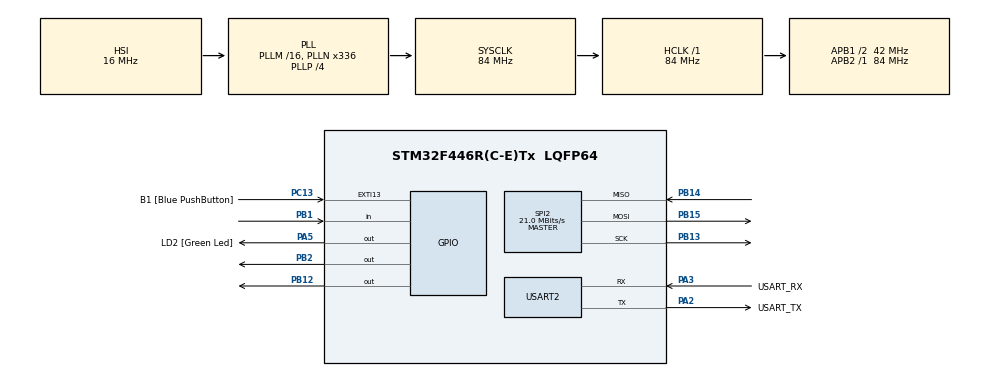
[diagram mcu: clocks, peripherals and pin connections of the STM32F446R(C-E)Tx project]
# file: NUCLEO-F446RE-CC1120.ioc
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Mcu.Family=STM32F4
Mcu.Name=STM32F446R(C-E)Tx
Mcu.Package=LQFP64
NVIC.PriorityGroup=NVIC_PRIORITYGROUP_0
PA13.GPIO_Label=TMS
PA13.Mode=Serial_Wire
PA13.Signal=SYS_JTMS-SWDIO
PA14.GPIO_Label=TCK
PA14.Mode=Serial_Wire
PA14.Signal=SYS_JTCK-SWCLK
PA2.GPIO_Label=USART_TX
PA2.Mode=Asynchronous
PA2.Signal=USART2_TX
PA3.GPIO_Label=USART_RX
PA3.Mode=Asynchronous
PA3.Signal=USART2_RX
PA5.GPIO_Label=LD2 [Green Led]
PA5.Signal=GPIO_Output
PB1.Signal=GPIO_Input
PB12.Signal=GPIO_Output
PB13.Mode=Full_Duplex_Master
PB13.Signal=SPI2_SCK
PB14.Mode=Full_Duplex_Master
PB14.Signal=SPI2_MISO
PB15.Mode=Full_Duplex_Master
PB15.Signal=SPI2_MOSI
PB2.Signal=GPIO_Output
PB3.GPIO_Label=SWO
PB3.Signal=SYS_JTDO-SWO
PC13.GPIO_Label=B1 [Blue PushButton]
PC13.GPIO_ModeDefaultEXTI=GPIO_MODE_IT_FALLING
PC13.Signal=GPXTI13
PC14-OSC32_IN.Mode=LSE-External-Oscillator
PC14-OSC32_IN.Signal=RCC_OSC32_IN
PC15-OSC32_OUT.Mode=LSE-External-Oscillator
PC15-OSC32_OUT.Signal=RCC_OSC32_OUT
PH0-OSC_IN.Mode=HSE-External-Oscillator
PH0-OSC_IN.Signal=RCC_OSC_IN
PH1-OSC_OUT.Mode=HSE-External-Oscillator
PH1-OSC_OUT.Signal=RCC_OSC_OUT
ProjectManager.HeapSize=0x200
ProjectManager.StackSize=0x400
ProjectManager.TargetToolchain=STM32CubeIDE
RCC.48MHZClocksFreq_Value=84000000
RCC.AHBFreq_Value=84000000
RCC.APB1CLKDivider=RCC_HCLK_DIV2
RCC.APB1Freq_Value=42000000
RCC.APB1TimFreq_Value=84000000
RCC.APB2Freq_Value=84000000
RCC.APB2TimFreq_Value=84000000
RCC.CortexFreq_Value=84000000
RCC.FLatency-AdvancedSettings=FLASH_LATENCY_2
RCC.HCLKFreq_Value=84000000
RCC.HSE_VALUE=8000000
RCC.HSI_VALUE=16000000
RCC.PLLN=336
RCC.PLLP=RCC_PLLP_DIV4
RCC.SYSCLKFreq_VALUE=84000000
RCC.SYSCLKSource=RCC_SYSCLKSOURCE_PLLCLK
RCC.USBFreq_Value=168000000
RCC.VCOOutputFreq_Value=336000000
SPI2.CalculateBaudRate=21.0 MBits/s
SPI2.Direction=SPI_DIRECTION_2LINES
SPI2.Mode=SPI_MODE_MASTER
SPI2.VirtualType=VM_MASTER
USART2.VirtualMode=VM_ASYNC
board=NUCLEO-F446RE

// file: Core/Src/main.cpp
/* USER CODE BEGIN Header */
/**
  ******************************************************************************
  * @file           : main.c
  * @brief          : Main program body
  ******************************************************************************
  * @attention
  *
  * <h2><center>&copy; Copyright (c) 2021 STMicroelectronics.
  * All rights reserved.</center></h2>
  *
  * This software component is licensed by ST under BSD 3-Clause license,
  * the "License"; You may not use this file except in compliance with the
  * License. You may obtain a copy of the License at:
  *                        opensource.org/licenses/BSD-3-Clause
  *
  ******************************************************************************
  */
/* USER CODE END Header */
#include "main.h"

/* USER CODE BEGIN Includes */
#include <stdio.h>
#include <string.h>
/* USER CODE END Includes */

SPI_HandleTypeDef hspi2;

UART_HandleTypeDef huart2;

/* USER CODE BEGIN PV */

const uint8_t CC112X_IOCFG3 = 0x00;
const uint8_t CC112X_IOCFG2 = 0x01;
const uint8_t CC112X_IOCFG1 = 0x02;
const uint8_t CC112X_IOCFG0 = 0x88;

/* USER CODE END PV */

void SystemClock_Config(void);
static void MX_GPIO_Init(void);
static void MX_USART2_UART_Init(void);
static void MX_SPI2_Init(void);

int main(void)
{
  /* USER CODE BEGIN 1 */

	/* UART */
	uint8_t 	uart_buffer[50];
	uint8_t 	uart_buffer_length;

	/* SPI */
	uint8_t  	spi_buffer;
	uint8_t  	spi_buffer_length;

	uint16_t 	count = 0;

  /* USER CODE END 1 */

  /* MCU Configuration--------------------------------------------------------*/

  /* Reset of all peripherals, Initializes the Flash interface and the Systick. */
  HAL_Init();

  /* Configure the system clock */
  SystemClock_Config();

  /* USER CODE BEGIN SysInit */

  /* pull the slave select high */
  HAL_GPIO_WritePin(GPIOB, GPIO_PIN_12, GPIO_PIN_SET);

  /* update user on program start */
  uart_buffer_length = sprintf((char*)uart_buffer, "<program start>\r\n");
  HAL_UART_Transmit(&huart2, uart_buffer, uart_buffer_length, 100);

  /* USER CODE END SysInit */

  /* Initialize all configured peripherals */
  MX_GPIO_Init();
  MX_USART2_UART_Init();
  MX_SPI2_Init();

  /* Infinite loop */
  /* USER CODE BEGIN WHILE */
  while (1)
  {

	  uart_buffer_length = sprintf((char*)uart_buffer, "<Attempt: %d>\r\n", ++count);
	  HAL_UART_Transmit(&huart2, uart_buffer, uart_buffer_length, 100);

	  /* pull the slave select low to begin communication */
	  HAL_GPIO_WritePin(GPIOB, GPIO_PIN_12, GPIO_PIN_RESET);

	  /* write out address byte */
	  HAL_SPI_Transmit(&hspi2, (uint8_t*)&CC112X_IOCFG0, 1, 100);

	  spi_buffer = 0xB0;

	  /* write out data byte */
	  HAL_SPI_Transmit(&hspi2, (uint8_t*)&spi_buffer, 1, 100);

	  /* pull the slave select high to end communication */
	  HAL_GPIO_WritePin(GPIOB, GPIO_PIN_12, GPIO_PIN_SET);

	  HAL_Delay(500);

    /* USER CODE END WHILE */

  }
}

void SystemClock_Config(void)
{
  RCC_OscInitTypeDef RCC_OscInitStruct = {0};
  RCC_ClkInitTypeDef RCC_ClkInitStruct = {0};

  /** Configure the main internal regulator output voltage
  */
  __HAL_RCC_PWR_CLK_ENABLE();
  __HAL_PWR_VOLTAGESCALING_CONFIG(PWR_REGULATOR_VOLTAGE_SCALE3);
  /** Initializes the RCC Oscillators according to the specified parameters
  * in the RCC_OscInitTypeDef structure.
  */
  RCC_OscInitStruct.OscillatorType = RCC_OSCILLATORTYPE_HSI;
  RCC_OscInitStruct.HSIState = RCC_HSI_ON;
  RCC_OscInitStruct.HSICalibrationValue = RCC_HSICALIBRATION_DEFAULT;
  RCC_OscInitStruct.PLL.PLLState = RCC_PLL_ON;
  RCC_OscInitStruct.PLL.PLLSource = RCC_PLLSOURCE_HSI;
  RCC_OscInitStruct.PLL.PLLM = 16;
  RCC_OscInitStruct.PLL.PLLN = 336;
  RCC_OscInitStruct.PLL.PLLP = RCC_PLLP_DIV4;
  RCC_OscInitStruct.PLL.PLLQ = 2;
  RCC_OscInitStruct.PLL.PLLR = 2;
  if (HAL_RCC_OscConfig(&RCC_OscInitStruct) != HAL_OK)
  {
    Error_Handler();
  }
  /** Initializes the CPU, AHB and APB buses clocks
  */
  RCC_ClkInitStruct.ClockType = RCC_CLOCKTYPE_HCLK|RCC_CLOCKTYPE_SYSCLK
                              |RCC_CLOCKTYPE_PCLK1|RCC_CLOCKTYPE_PCLK2;
  RCC_ClkInitStruct.SYSCLKSource = RCC_SYSCLKSOURCE_PLLCLK;
  RCC_ClkInitStruct.AHBCLKDivider = RCC_SYSCLK_DIV1;
  RCC_ClkInitStruct.APB1CLKDivider = RCC_HCLK_DIV2;
  RCC_ClkInitStruct.APB2CLKDivider = RCC_HCLK_DIV1;

  if (HAL_RCC_ClockConfig(&RCC_ClkInitStruct, FLASH_LATENCY_2) != HAL_OK)
  {
    Error_Handler();
  }
}

static void MX_SPI2_Init(void)
{

  /* SPI2 parameter configuration*/
  hspi2.Instance = SPI2;
  hspi2.Init.Mode = SPI_MODE_MASTER;
  hspi2.Init.Direction = SPI_DIRECTION_2LINES;
  hspi2.Init.DataSize = SPI_DATASIZE_8BIT;
  hspi2.Init.CLKPolarity = SPI_POLARITY_LOW;
  hspi2.Init.CLKPhase = SPI_PHASE_1EDGE;
  hspi2.Init.NSS = SPI_NSS_SOFT;
  hspi2.Init.BaudRatePrescaler = SPI_BAUDRATEPRESCALER_2;
  hspi2.Init.FirstBit = SPI_FIRSTBIT_MSB;
  hspi2.Init.TIMode = SPI_TIMODE_DISABLE;
  hspi2.Init.CRCCalculation = SPI_CRCCALCULATION_DISABLE;
  hspi2.Init.CRCPolynomial = 10;
  if (HAL_SPI_Init(&hspi2) != HAL_OK)
  {
    Error_Handler();
  }

}

static void MX_USART2_UART_Init(void)
{

  huart2.Instance = USART2;
  huart2.Init.BaudRate = 115200;
  huart2.Init.WordLength = UART_WORDLENGTH_8B;
  huart2.Init.StopBits = UART_STOPBITS_1;
  huart2.Init.Parity = UART_PARITY_NONE;
  huart2.Init.Mode = UART_MODE_TX_RX;
  huart2.Init.HwFlowCtl = UART_HWCONTROL_NONE;
  huart2.Init.OverSampling = UART_OVERSAMPLING_16;
  if (HAL_UART_Init(&huart2) != HAL_OK)
  {
    Error_Handler();
  }

}

static void MX_GPIO_Init(void)
{
  GPIO_InitTypeDef GPIO_InitStruct = {0};

  /* GPIO Ports Clock Enable */
  __HAL_RCC_GPIOC_CLK_ENABLE();
  __HAL_RCC_GPIOH_CLK_ENABLE();
  __HAL_RCC_GPIOA_CLK_ENABLE();
  __HAL_RCC_GPIOB_CLK_ENABLE();

  /*Configure GPIO pin Output Level */
  HAL_GPIO_WritePin(LD2_GPIO_Port, LD2_Pin, GPIO_PIN_RESET);

  /*Configure GPIO pin Output Level */
  HAL_GPIO_WritePin(GPIOB, GPIO_PIN_2|GPIO_PIN_12, GPIO_PIN_RESET);

  /*Configure GPIO pin : B1_Pin */
  GPIO_InitStruct.Pin = B1_Pin;
  GPIO_InitStruct.Mode = GPIO_MODE_IT_FALLING;
  GPIO_InitStruct.Pull = GPIO_NOPULL;
  HAL_GPIO_Init(B1_GPIO_Port, &GPIO_InitStruct);

  /*Configure GPIO pin : LD2_Pin */
  GPIO_InitStruct.Pin = LD2_Pin;
  GPIO_InitStruct.Mode = GPIO_MODE_OUTPUT_PP;
  GPIO_InitStruct.Pull = GPIO_NOPULL;
  GPIO_InitStruct.Speed = GPIO_SPEED_FREQ_LOW;
  HAL_GPIO_Init(LD2_GPIO_Port, &GPIO_InitStruct);

  /*Configure GPIO pin : PB1 */
  GPIO_InitStruct.Pin = GPIO_PIN_1;
  GPIO_InitStruct.Mode = GPIO_MODE_INPUT;
  GPIO_InitStruct.Pull = GPIO_NOPULL;
  HAL_GPIO_Init(GPIOB, &GPIO_InitStruct);

  /*Configure GPIO pins : PB2 PB12 */
  GPIO_InitStruct.Pin = GPIO_PIN_2|GPIO_PIN_12;
  GPIO_InitStruct.Mode = GPIO_MODE_OUTPUT_PP;
  GPIO_InitStruct.Pull = GPIO_NOPULL;
  GPIO_InitStruct.Speed = GPIO_SPEED_FREQ_LOW;
  HAL_GPIO_Init(GPIOB, &GPIO_InitStruct);

}

void Error_Handler(void)
{
  __disable_irq();
  while (1)
  {
  }
}

/************************ (C) COPYRIGHT STMicroelectronics *****END OF FILE****/
